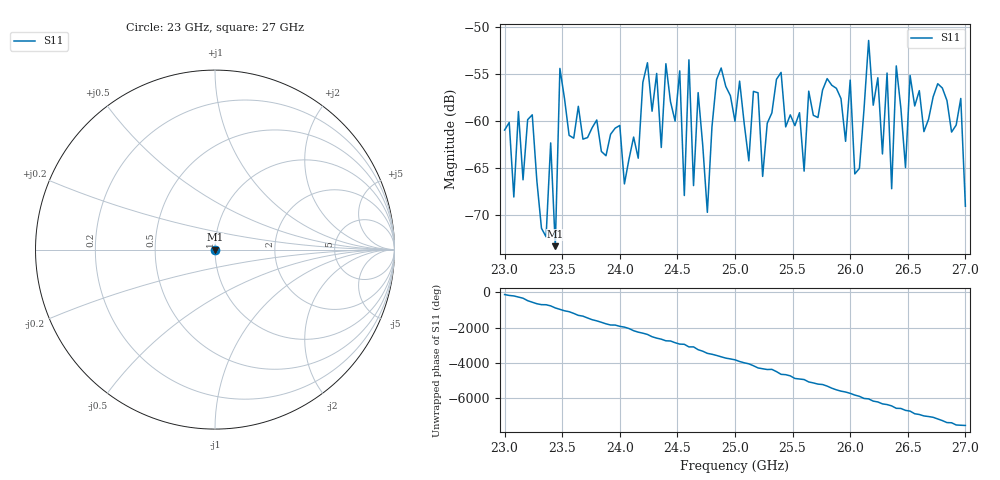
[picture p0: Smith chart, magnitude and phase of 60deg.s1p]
#  HZ  S  RI  R  50.00
! Rohde & Schwarz ZVA40 4Ports - Version 3.90 - 1145.1110k42 SN: 100403
! Date: 2023-09-26 11:14:07
! Measurement: S12
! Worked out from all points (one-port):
!   101 points, 23 GHz to 27 GHz, reference 50 ohm
!   lowest |S11| = -73.3 dB at 23.44 GHz (marker M1), VSWR 1.00, Z = 50 - j0.00458 ohm
!   |S11| at or under -10 dB: start of sweep to end of sweep
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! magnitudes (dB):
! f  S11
! 23 GHz  -61.0
! 23.24 GHz  -59.4
! 23.36 GHz  -72.3
! 23.4 GHz  -62.4
! 23.44 GHz  -73.3
! 23.48 GHz  -54.4
! 23.52 GHz  -57.6
! 24 GHz  -60.5
! 24.52 GHz  -54.7
! 24.56 GHz  -67.9
! 24.6 GHz  -53.5
! 24.64 GHz  -66.9
! 24.68 GHz  -57.0
! 24.76 GHz  -69.7
! 24.84 GHz  -55.6
! 25 GHz  -60.1
! 25.52 GHz  -60.5
! 26 GHz  -55.7
! 26.04 GHz  -65.6
! 26.16 GHz  -51.5
! 26.28 GHz  -63.5
! 26.32 GHz  -54.9
! 26.36 GHz  -67.2
! 26.4 GHz  -54.2
! 26.48 GHz  -65.0
! 26.52 GHz  -55.2
! 26.96 GHz  -57.6
! 27 GHz  -69.1
